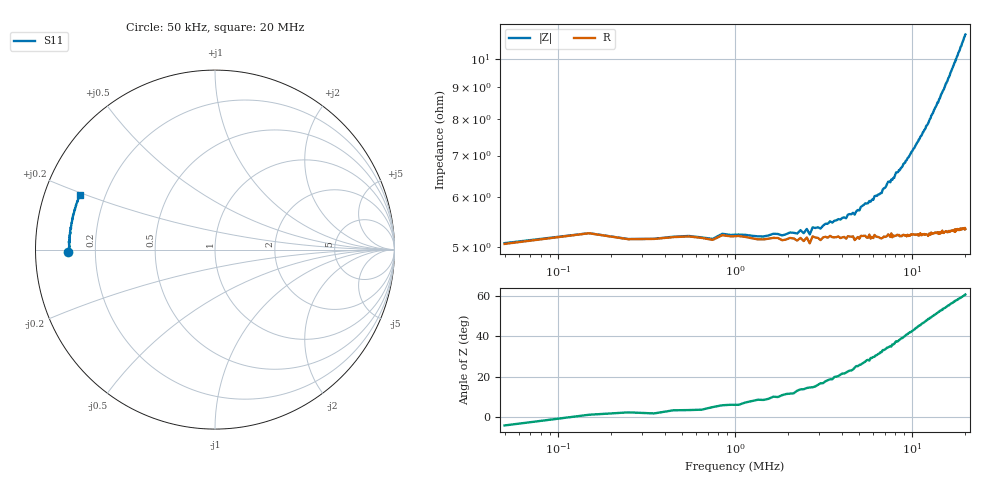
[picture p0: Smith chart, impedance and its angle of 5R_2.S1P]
!Keysight Technologies,E5063A,MY54100949,A.07.00
!Date: Tue Oct 17 15:48:09 2023
!Data & Calibration Information:
!Freq	S11:SOLT2(ON)
# Hz S RI R 50
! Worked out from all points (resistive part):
!   201 points, 50 kHz to 20 MHz, reference 50 ohm
!   read as one part to ground: R = 5.26 ohm at 149.8 kHz
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50000  -0.8163 -0.0126
149750  -0.8097 0.00295
249500  -0.8134 0.00642
349250  -0.8133 0.00489
449000  -0.8121 0.00955
648500  -0.8126 0.0104
748250  -0.8138 0.0142
848000  -0.8107 0.0172
1047500  -0.8113 0.0177
1346750  -0.8132 0.0251
2144750  -0.8123 0.035
2344250  -0.8117 0.0411
2444000  -0.8137 0.041
2543750  -0.8114 0.0433
2643500  -0.815 0.0434
2743250  -0.8106 0.0446
3042500  -0.8126 0.0503
3441500  -0.8096 0.0574
5037500  -0.8096 0.0815
7531250  -0.8042 0.1194
7930250  -0.803 0.1245
8129750  -0.8017 0.131
8329250  -0.8014 0.1311
1.0025e7  -0.7969 0.157
1.251875e7  -0.7888 0.1941
1.50125e7  -0.7795 0.2313
1.750625e7  -0.7685 0.2671
2e7  -0.7549 0.3025
